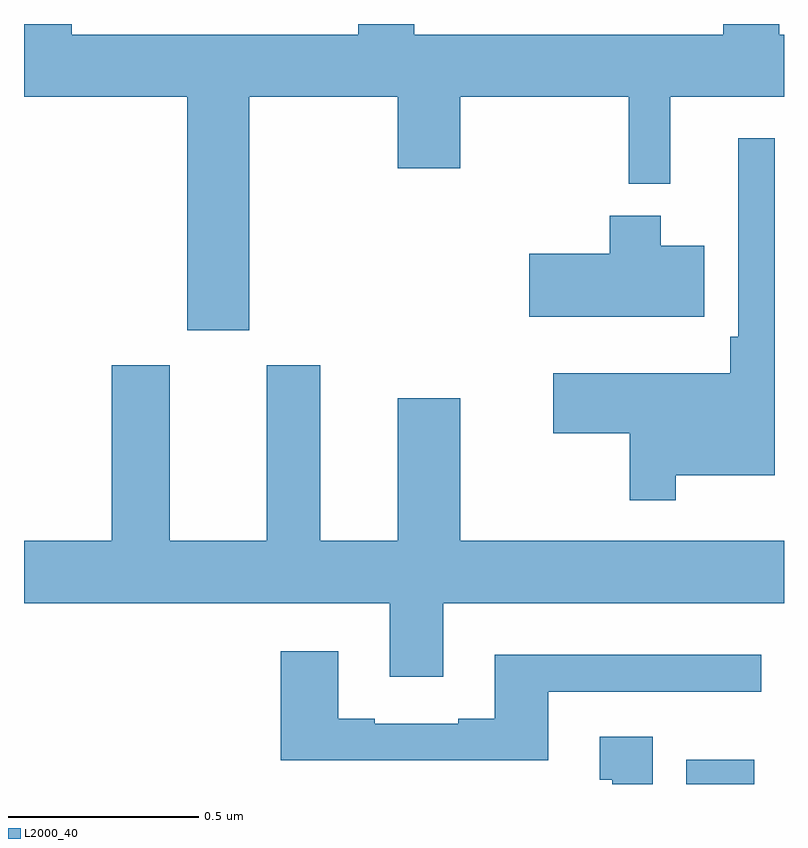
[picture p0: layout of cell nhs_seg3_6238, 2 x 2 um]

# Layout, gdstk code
import gdstk
lib = gdstk.Library(unit=1e-6, precision=1e-09)
def R(c, l, rs):  # rectangles x0, y0, x1, y1
    for r in rs: c.add(gdstk.rectangle(r[:2], r[2:], *l))
def P(c, l, *ps):  # polygons
    for p in ps: c.add(gdstk.Polygon(p, *l))
L2000_40 = (2000, 40)

nhs_seg3_6238 = lib.new_cell('nhs_seg3_6238')
R(nhs_seg3_6238, L2000_40, [(189.743,740.4,189.922,740.464)])
P(nhs_seg3_6238, L2000_40, [(188.593,742.208),(188.984,742.208),(188.984,742.02),(189.148,742.02),(189.148,742.208),(189.591,742.208),(189.591,741.98),(189.701,741.98),(189.701,742.208),(190,742.208),(190,742.372),(189.987,742.372),(189.987,742.4),(189.84,742.4),(189.84,742.372),(189.027,742.372),(189.027,742.4),(188.879,742.4),(188.879,742.372),(188.125,742.372),(188.125,742.4),(188,742.4),(188,742.208),(188.429,742.208),(188.429,741.594),(188.593,741.594)],
  [(189.715,741.212),(189.976,741.212),(189.976,742.099),(189.879,742.099),(189.879,741.577),(189.859,741.577),(189.859,741.481),(189.393,741.481),(189.393,741.323),(189.594,741.323),(189.594,741.147),(189.715,741.147)],
  [(189.79,741.817),(189.676,741.817),(189.676,741.895),(189.542,741.895),(189.542,741.795),(189.33,741.795),(189.33,741.629),(189.79,741.629)],
  [(189.103,740.876),(190,740.876),(190,741.04),(189.148,741.04),(189.148,741.415),(188.984,741.415),(188.984,741.04),(188.779,741.04),(188.779,741.502),(188.639,741.502),(188.639,741.04),(188.383,741.04),(188.383,741.502),(188.231,741.502),(188.231,741.04),(188,741.04),(188,740.876),(188.963,740.876),(188.963,740.682),(189.103,740.682)],
  [(189.379,740.643),(189.94,740.643),(189.94,740.74),(189.239,740.74),(189.239,740.572),(189.143,740.572),(189.143,740.559),(188.923,740.559),(188.923,740.572),(188.827,740.572),(188.827,740.749),(188.675,740.749),(188.675,740.462),(189.379,740.462)],
  [(189.655,740.524),(189.515,740.524),(189.515,740.411),(189.548,740.411),(189.548,740.4),(189.655,740.4)])

lib.write_gds('nhs_seg3_6238.gds')
